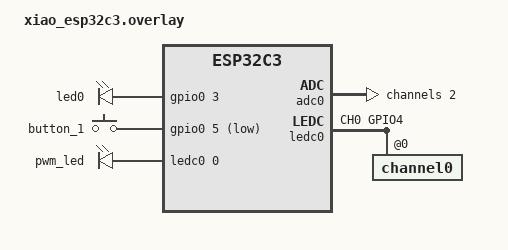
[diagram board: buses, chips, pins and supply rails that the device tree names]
/ {
    aliases{
        my-led = &led0;
        my-button = &button_1;

        my-adc = &adc0;
        my-adc-channel = &adc0_ch2;
    };

    app{
        compatible = "app,config";
        sample-interval-ms = <3000>;
        voltage-threshold-mv = <3300>;
        enable-ble;
    };

    leds {
        compatible = "gpio-leds";
        led0: d1 {
            gpios = <&gpio0 3 GPIO_ACTIVE_HIGH>;
        };
    };

    buttons {
        compatible = "gpio-keys";
        //debounce-interval-ms = <1000>;
        //polling-mode;

        button_1: d3 {
            gpios = <&gpio0 5 (GPIO_ACTIVE_LOW | GPIO_PULL_UP)>;
        };
    };

    pwmleds {
        compatible = "pwm-leds";
        pwm_led: pwm_led {
            pwms = <&ledc0 0 10000 0>;
        };
    };

    
};

// ADC1 (adc0) channel 0 is connected to GPIO1
&adc0 {
    status = "okay";
    #address-cells = <1>;
    #size-cells = <0>;

    adc0_ch2: channel@2 {
        reg = <2>;
        zephyr,gain = "ADC_GAIN_1_4";
        zephyr,reference = "ADC_REF_INTERNAL";
        zephyr,vref-mv = <3894>;
        zephyr,acquisition-time = <ADC_ACQ_TIME_DEFAULT>;
        zephyr,resolution = <12>;
    };
};

&pinctrl {
    ledc0_default: ledc0_default{
        group1{
            pinmux = <LEDC_CH0_GPIO4>;
            output-enable;
        };
    };
};

&ledc0 {
    pinctrl-0 = <&ledc0_default>;
    pinctrl-names = "default";
    status = "okay";
    #address-cells = <1>;
    #size-cells = <0>;
    channel0@0 {
        reg = <0x0>;
        timer = <0>;
    };
};

